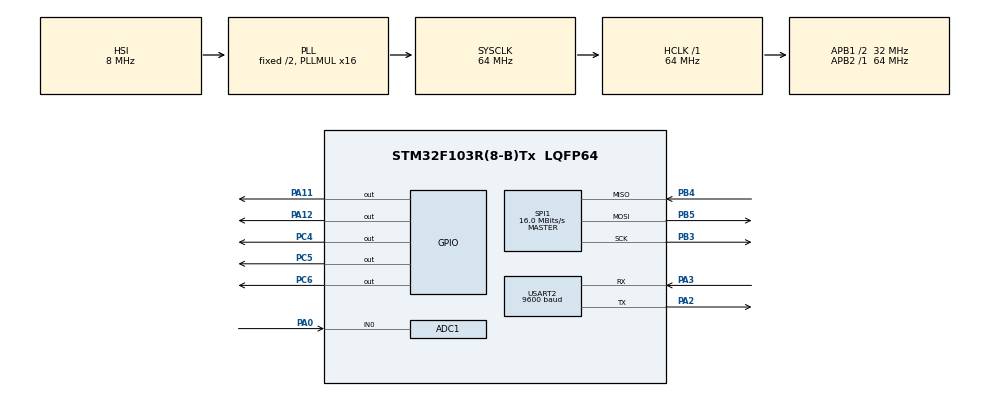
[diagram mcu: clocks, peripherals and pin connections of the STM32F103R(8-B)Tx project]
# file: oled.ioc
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Mcu.Family=STM32F1
NVIC.ADC1_2_IRQn=true\:0\:0\:false\:false\:true\:true\:true
ADC1.Rank-0\#ChannelRegularConversion=1
SPI1.VirtualType=VM_MASTER
ADC1.ContinuousConvMode=ENABLE
PC4.Signal=GPIO_Output
PC6.Signal=GPIO_Output
RCC.APB1CLKDivider=RCC_HCLK_DIV2
USART2.BaudRate=9600
RCC.SYSCLKSource=RCC_SYSCLKSOURCE_PLLCLK
ProjectManager.StackSize=0x400
PA0-WKUP.Signal=ADCx_IN0
RCC.ADCPresc=RCC_ADCPCLK2_DIV6
PA13.Signal=SYS_JTMS-SWDIO
PA3.Mode=Asynchronous
PA12.Signal=GPIO_Output
ProjectManager.TargetToolchain=STM32CubeIDE
SPI1.Direction=SPI_DIRECTION_2LINES
RCC.HCLKFreq_Value=64000000
RCC.APB2TimFreq_Value=64000000
SPI1.CalculateBaudRate=16.0 MBits/s
RCC.USBFreq_Value=64000000
RCC.AHBFreq_Value=64000000
ADC1.Channel-0\#ChannelRegularConversion=ADC_CHANNEL_0
PB3.Mode=Full_Duplex_Master
board=custom
RCC.PLLMUL=RCC_PLL_MUL16
NVIC.SPI1_IRQn=true\:0\:0\:false\:false\:true\:true\:true
RCC.APB2Freq_Value=64000000
PB4.Mode=Full_Duplex_Master
VP_TIM2_VS_ClockSourceINT.Mode=Internal
SPI1.Mode=SPI_MODE_MASTER
PA14.Mode=Serial_Wire
PB5.Mode=Full_Duplex_Master
NVIC.TIM2_IRQn=true\:0\:0\:false\:false\:true\:true\:true
SH.ADCx_IN0.0=ADC1_IN0,IN0
TIM2.Period=1000-1
PA13.Mode=Serial_Wire
Mcu.Name=STM32F103R(8-B)Tx
ADC1.SamplingTime-0\#ChannelRegularConversion=ADC_SAMPLETIME_1CYCLE_5
PA2.Signal=USART2_TX
PB3.Signal=SPI1_SCK
RCC.SYSCLKFreq_VALUE=64000000
Mcu.Package=LQFP64
PB5.Signal=SPI1_MOSI
TIM2.Prescaler=64-1
ADC1.master=1
USART2.VirtualMode=VM_ASYNC
PA11.Signal=GPIO_Output
PA14.Signal=SYS_JTCK-SWCLK
ProjectManager.HeapSize=0x200
NVIC.PriorityGroup=NVIC_PRIORITYGROUP_4
ADC1.NbrOfConversionFlag=1
RCC.APB1TimFreq_Value=64000000
PA2.Mode=Asynchronous
PC5.Signal=GPIO_Output
RCC.APB1Freq_Value=32000000
SPI1.BaudRatePrescaler=SPI_BAUDRATEPRESCALER_4
PB4.Signal=SPI1_MISO
PA3.Signal=USART2_RX

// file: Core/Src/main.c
/* USER CODE BEGIN Header */
/**
  ******************************************************************************
  * @file           : main.c
  * @brief          : Main program body
  ******************************************************************************
  * @attention
  *
  * <h2><center>&copy; Copyright (c) 2021 STMicroelectronics.
  * All rights reserved.</center></h2>
  *
  * This software component is licensed by ST under BSD 3-Clause license,
  * the "License"; You may not use this file except in compliance with the
  * License. You may obtain a copy of the License at:
  *                        opensource.org/licenses/BSD-3-Clause
  *
  ******************************************************************************
  */
/* USER CODE END Header */
#include "main.h"
#include "adc.h"
#include "spi.h"
#include "tim.h"
#include "usart.h"
#include "gpio.h"

/* USER CODE BEGIN Includes */
#include "ssd1306_tests.h"
#include "ssd1306.h"
#include <stdio.h>
/* USER CODE END Includes */

void SystemClock_Config(void);
/* USER CODE BEGIN PFP */
void sec_1_counter(void);
void sec_2_counter(void);
void sec_3_counter(void);
/* USER CODE END PFP */

/* USER CODE BEGIN 0 */
int adc_val = 0;
float temp;
char result[128];

int _write(int file, unsigned char* p, int len) {
      HAL_UART_Transmit(&huart2, p, len, 20);
      return len;
}

volatile uint16_t msec = 0;
volatile uint8_t sec = 0, min = 0;

void HAL_TIM_PeriodElapsedCallback(TIM_HandleTypeDef *htim)
{
	if (htim->Instance == TIM2)
	{
		msec++;
		if (msec >= 1000)
		{
			//led_reset();
			sec++;
			msec = 0;

			sec_1_counter();
			if (temp > 30)
			{
				HAL_GPIO_WritePin(GPIOC, GPIO_PIN_6, SET); // red, SET = high
				HAL_GPIO_WritePin(GPIOC, GPIO_PIN_5, RESET); // green, RESET = low
			}
			else
			{
				HAL_GPIO_WritePin(GPIOC, GPIO_PIN_6, RESET); // red, SET = high
				HAL_GPIO_WritePin(GPIOC, GPIO_PIN_5, SET); // green, RESET = low
			}
			if (sec % 2 == 0) {
				sec_2_counter();
			}
			if (sec % 3 == 0) {
				sec_3_counter();
			}
			if (sec >= 60) {
				sec = 0;
			}
		}
	}
}

void sec_1_counter(void) {
	ssd1306_Fill(Black);
	ssd1306_SetCursor(2, 0);
	temp = -30 + ((float)adc_val - 3110) * 2.2;
	sprintf(result, "%.2f", temp);
	ssd1306_WriteString("Temperature", Font_11x18, White);
	ssd1306_SetCursor(2, 26);
	ssd1306_WriteString(result, Font_7x10, White);
	ssd1306_UpdateScreen();
}

void sec_2_counter(void) {
	adc_val = HAL_ADC_GetValue(&hadc1);
}

void sec_3_counter(void) {
	printf("now sec : %d \n\r", sec);
}
/* USER CODE END 0 */

int main(void)
{

  /* MCU Configuration--------------------------------------------------------*/

  /* Reset of all peripherals, Initializes the Flash interface and the Systick. */
  HAL_Init();

  /* Configure the system clock */
  SystemClock_Config();

  /* Initialize all configured peripherals */
  MX_GPIO_Init();
  MX_SPI1_Init();
  MX_ADC1_Init();
  MX_TIM2_Init();
  MX_USART2_UART_Init();
  /* USER CODE BEGIN 2 */
  ssd1306_Init();
  HAL_TIM_Base_Start_IT(&htim2);
  HAL_ADC_Start_IT(&hadc1);
  /* USER CODE END 2 */

  /* Infinite loop */
  while (1)
  {

    /* USER CODE BEGIN 3 */
		//ssd1306_TestFPS();
		//HAL_Delay(3000);
		//ssd1306_TestBorder();
		//HAL_Delay(3000);
		//ssd1306_TestFonts();
//		ssd1306_Fill(Black);
//		ssd1306_SetCursor(2, 0);
//		sprintf(result, "%.2f", temp);
//		ssd1306_WriteString("Temperature", Font_11x18, White);
//		ssd1306_SetCursor(2, 26);
//		ssd1306_WriteString(result, Font_7x10, White);
//	    ssd1306_SetCursor(13, 26+18);
//	    ssd1306_WriteString("10:11 PM", Font_11x18, White);
		//ssd1306_TestRectangle();
		//ssd1306_TestLine();
		//ssd1306_TestPolyline();
		//ssd1306_TestArc();
//	   ssd1306_TestCircle();
		//ssd1306_Line(1, 1, 10, 10, White);
//		ssd1306_UpdateScreen();
  }
  /* USER CODE END 3 */
}

void SystemClock_Config(void)
{
  RCC_OscInitTypeDef RCC_OscInitStruct = {0};
  RCC_ClkInitTypeDef RCC_ClkInitStruct = {0};
  RCC_PeriphCLKInitTypeDef PeriphClkInit = {0};

  /** Initializes the RCC Oscillators according to the specified parameters
  * in the RCC_OscInitTypeDef structure.
  */
  RCC_OscInitStruct.OscillatorType = RCC_OSCILLATORTYPE_HSI;
  RCC_OscInitStruct.HSIState = RCC_HSI_ON;
  RCC_OscInitStruct.HSICalibrationValue = RCC_HSICALIBRATION_DEFAULT;
  RCC_OscInitStruct.PLL.PLLState = RCC_PLL_ON;
  RCC_OscInitStruct.PLL.PLLSource = RCC_PLLSOURCE_HSI_DIV2;
  RCC_OscInitStruct.PLL.PLLMUL = RCC_PLL_MUL16;
  if (HAL_RCC_OscConfig(&RCC_OscInitStruct) != HAL_OK)
  {
    Error_Handler();
  }
  /** Initializes the CPU, AHB and APB buses clocks
  */
  RCC_ClkInitStruct.ClockType = RCC_CLOCKTYPE_HCLK|RCC_CLOCKTYPE_SYSCLK
                              |RCC_CLOCKTYPE_PCLK1|RCC_CLOCKTYPE_PCLK2;
  RCC_ClkInitStruct.SYSCLKSource = RCC_SYSCLKSOURCE_PLLCLK;
  RCC_ClkInitStruct.AHBCLKDivider = RCC_SYSCLK_DIV1;
  RCC_ClkInitStruct.APB1CLKDivider = RCC_HCLK_DIV2;
  RCC_ClkInitStruct.APB2CLKDivider = RCC_HCLK_DIV1;

  if (HAL_RCC_ClockConfig(&RCC_ClkInitStruct, FLASH_LATENCY_2) != HAL_OK)
  {
    Error_Handler();
  }
  PeriphClkInit.PeriphClockSelection = RCC_PERIPHCLK_ADC;
  PeriphClkInit.AdcClockSelection = RCC_ADCPCLK2_DIV6;
  if (HAL_RCCEx_PeriphCLKConfig(&PeriphClkInit) != HAL_OK)
  {
    Error_Handler();
  }
}

void Error_Handler(void)
{
  __disable_irq();
  while (1)
  {
  }
}

/************************ (C) COPYRIGHT STMicroelectronics *****END OF FILE****/
